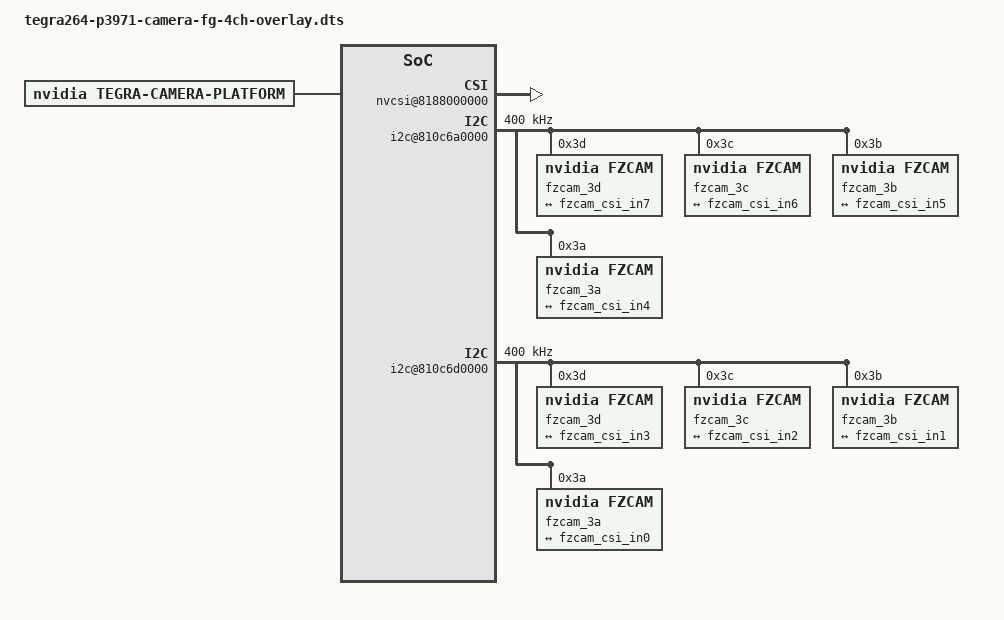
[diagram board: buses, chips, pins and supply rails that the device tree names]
/* SPDX-License-Identifier: GPL-2.0 */
/* SPDX-FileCopyrightText: Copyright (c) 2025, NVIDIA CORPORATION & AFFILIATES. All rights reserved. */

/dts-v1/;
/plugin/;

#include <dt-bindings/clock/tegra264-clk.h>
#include <dt-bindings/gpio/tegra264-gpio.h>
#include <dt-bindings/pinctrl/pinctrl-tegra.h>

/* camera control gpio definitions */
#define CAM1_PWDN	TEGRA264_MAIN_GPIO(V, 5)  //Pin93 -- MAX9296_1 PWDN/17
#define CAM2_PWDN	TEGRA264_MAIN_GPIO(V, 2)  //Pin95 -- MAX9296_2 PWDN/18

#define CAM_LANES 4
#define CAM_LANES_STRING "4"

#define JETSON_COMPATIBLE "nvidia,p3971-0089+p3834-0008", "nvidia,p3971-0050+p3834-0005", "nvidia,p3971-0080+p3834-0008", "nvidia,p3834-0008", "nvidia,tegra264"

/ {
	overlay-name = "Jetson Camera Thor_FG_4CH";
	jetson-header-name = "Jetson AGX CSI Connector";
	compatible = JETSON_COMPATIBLE;

	fragment@0 {
		target-path = "/";
		__overlay__ {
			status = "okay";
			tegra-capture-vi {
				status = "okay";
				num-channels = <8>;
				ports {
					status = "okay";
					#address-cells = <1>;
					#size-cells = <0>;
					port@0 {
						status = "okay";
						reg = <0>;
						fzcam_vi_in0: endpoint {
							status = "okay";
							vc-id = <0>;
							port-index = <0>;
							bus-width = <4>;
							remote-endpoint = <&fzcam_csi_out0>;
						};
					};
					port@1 {
						status = "okay";
						reg = <1>;
						fzcam_vi_in1: endpoint {
							status = "okay";
							vc-id = <1>;
							port-index = <0>;
							bus-width = <4>;
							remote-endpoint = <&fzcam_csi_out1>;
						};
					};
					port@2 {
						status = "okay";
						reg = <2>;
						fzcam_vi_in2: endpoint {
							status = "okay";
							vc-id = <2>;
							port-index = <0>;
							bus-width = <4>;
							remote-endpoint = <&fzcam_csi_out2>;
						};
					};
					port@3 {
						status = "okay";
						reg = <3>;
						fzcam_vi_in3: endpoint {
							status = "okay";
							vc-id = <3>;
							port-index = <0>;
							bus-width = <4>;
							remote-endpoint = <&fzcam_csi_out3>;
						};
					};
					port@4 {
						status = "okay";
						reg = <4>;
						fzcam_vi_in4: endpoint {
							status = "okay";
							vc-id = <0>;
							port-index = <2>;
							bus-width = <4>;
							remote-endpoint = <&fzcam_csi_out4>;
						};
					};
					port@5 {
						status = "okay";
						reg = <5>;
						fzcam_vi_in5: endpoint {
							status = "okay";
							vc-id = <1>;
							port-index = <2>;
							bus-width = <4>;
							remote-endpoint = <&fzcam_csi_out5>;
						};
					};
					port@6 {
						status = "okay";
						reg = <6>;
						fzcam_vi_in6: endpoint {
							status = "okay";
							vc-id = <2>;
							port-index = <2>;
							bus-width = <4>;
							remote-endpoint = <&fzcam_csi_out6>;
						};
					};
					port@7 {
						status = "okay";
						reg = <7>;
						fzcam_vi_in7: endpoint {
							status = "okay";
							vc-id = <3>;
							port-index = <2>;
							bus-width = <4>;
							remote-endpoint = <&fzcam_csi_out7>;
						};
					};
				};
			};

			tegra-camera-platform {
				status = "okay";
				compatible = "nvidia, tegra-camera-platform";
				modules {
					status = "okay";
					module0 {
						status = "okay";
						badge = "fzcam_frontl";
						position = "frontl";
						orientation = "1";
						drivernode0 {
							status = "okay";
							pcl_id = "v4l2_sensor";
							sysfs-device-tree = "/sys/firmware/devicetree/base/bus@0/i2c@810c6a0000/fzcam_3a@3a";
						};
					};
					module1 {
						status = "okay";
						badge = "fzcam_frontr";
						position = "frontr";
						orientation = "1";
						drivernode0 {
							status = "okay";
							pcl_id = "v4l2_sensor";
							sysfs-device-tree = "/sys/firmware/devicetree/base/bus@0/i2c@810c6a0000/fzcam_3b@3b";
						};
					};
					module2 {
						status = "okay";
						badge = "fzcam_frontu";
						position = "frontu";
						orientation = "1";
						drivernode0 {
							status = "okay";
							pcl_id = "v4l2_sensor";
							sysfs-device-tree = "/sys/firmware/devicetree/base/bus@0/i2c@810c6a0000/fzcam_3c@3c";
						};
					};
					module3 {
						status = "okay";
						badge = "fzcam_frontd";
						position = "frontd";
						orientation = "1";
						drivernode0 {
							status = "okay";
							pcl_id = "v4l2_sensor";
							sysfs-device-tree = "/sys/firmware/devicetree/base/bus@0/i2c@810c6a0000/fzcam_3d@3d";
						};
					};
					module4 {
						status = "okay";
						badge = "fzcam_rearl";
						position = "rearl";
						orientation = "1";
						drivernode0 {
							status = "okay";
							pcl_id = "v4l2_sensor";
							sysfs-device-tree = "/sys/firmware/devicetree/base/bus@0/i2c@810c6d0000/fzcam_3a@3a";
						};
					};
					module5 {
						status = "okay";
						badge = "fzcam_rearr";
						position = "rearr";
						orientation = "1";
						drivernode0 {
							status = "okay";
							pcl_id = "v4l2_sensor";
							sysfs-device-tree = "/sys/firmware/devicetree/base/bus@0/i2c@810c6d0000/fzcam_3b@3b";
						};
					};
					module6 {
						status = "okay";
						badge = "fzcam_rearu";
						position = "rearu";
						orientation = "1";
						drivernode0 {
							status = "okay";
							pcl_id = "v4l2_sensor";
							sysfs-device-tree = "/sys/firmware/devicetree/base/bus@0/i2c@810c6d0000/fzcam_3c@3c";
						};
					};
					module7 {
						status = "okay";
						badge = "fzcam_reard";
						position = "reard";
						orientation = "1";
						drivernode0 {
							status = "okay";
							pcl_id = "v4l2_sensor";
							sysfs-device-tree = "/sys/firmware/devicetree/base/bus@0/i2c@810c6d0000/fzcam_3d@3d";
						};
					};
				};
			};

			bus@0 {
				status = "okay";
				/*
				gpio@810c300000 {
					camera-control-output-low {
						gpio-hog;
						output-low;
						gpios = <CAM1_PWDN 0 CAM2_PWDN 0>;
						label = "cam1-pwdn", "cam2-pwdn";
					};
				};
				*/

				host1x@8181200000 {
					status = "okay";
					nvcsi@8188000000 {
						status = "okay";
						num-channels = <8>;
						#address-cells = <1>;
						#size-cells = <0>;
						channel@0 {
							status = "okay";
							reg = <0>;
							ports {
								status = "okay";
								#address-cells = <1>;
								#size-cells = <0>;
								port@0 {
									status = "okay";
									reg = <0>;
									fzcam_csi_in0: endpoint@0 {
										status = "okay";
										port-index = <0>;
										bus-width = <4>;
										remote-endpoint = <&fzcam_out0>;
									};
								};
								port@1 {
									status = "okay";
									reg = <1>;
									fzcam_csi_out0: endpoint@1 {
										status = "okay";
										remote-endpoint = <&fzcam_vi_in0>;
									};
								};
							};
						};
						channel@1 {
							status = "okay";
							reg = <1>;
							ports {
								status = "okay";
								#address-cells = <1>;
								#size-cells = <0>;
								port@0 {
									status = "okay";
									reg = <0>;
									fzcam_csi_in1: endpoint@2 {
										status = "okay";
										port-index = <0>;
										bus-width = <4>;
										remote-endpoint = <&fzcam_out1>;
									};
								};
								port@1 {
									status = "okay";
									reg = <1>;
									fzcam_csi_out1: endpoint@3 {
										status = "okay";
										remote-endpoint = <&fzcam_vi_in1>;
									};
								};
							};
						};
						channel@2 {
							status = "okay";
							reg = <2>;
							ports {
								status = "okay";
								#address-cells = <1>;
								#size-cells = <0>;
								port@0 {
									status = "okay";
									reg = <0>;
									fzcam_csi_in2: endpoint@4 {
										status = "okay";
										port-index = <0>;
										bus-width = <4>;
										remote-endpoint = <&fzcam_out2>;
									};
								};
								port@1 {
									status = "okay";
									reg = <1>;
									fzcam_csi_out2: endpoint@5 {
										status = "okay";
										remote-endpoint = <&fzcam_vi_in2>;
									};
								};
							};
						};
						channel@3 {
							status = "okay";
							reg = <3>;
							ports {
								status = "okay";
								#address-cells = <1>;
								#size-cells = <0>;
								port@0 {
									status = "okay";
									reg = <0>;
									fzcam_csi_in3: endpoint@6 {
										status = "okay";
										port-index = <0>;
										bus-width = <4>;
										remote-endpoint = <&fzcam_out3>;
									};
								};
								port@1 {
									status = "okay";
									reg = <1>;
									fzcam_csi_out3: endpoint@7 {
										status = "okay";
										remote-endpoint = <&fzcam_vi_in3>;
									};
								};
							};
						};
						channel@4 {
							status = "okay";
							reg = <4>;
							ports {
								status = "okay";
								#address-cells = <1>;
								#size-cells = <0>;
								port@0 {
									status = "okay";
									reg = <0>;
									fzcam_csi_in4: endpoint@8 {
										status = "okay";
										port-index = <2>;
										bus-width = <4>;
										remote-endpoint = <&fzcam_out4>;
									};
								};
								port@1 {
									status = "okay";
									reg = <1>;
									fzcam_csi_out4: endpoint@9 {
										status = "okay";
										remote-endpoint = <&fzcam_vi_in4>;
									};
								};
							};
						};
						channel@5 {
							status = "okay";
							reg = <5>;
							ports {
								status = "okay";
								#address-cells = <1>;
								#size-cells = <0>;
								port@0 {
									status = "okay";
									reg = <0>;
									fzcam_csi_in5: endpoint@10 {
										status = "okay";
										port-index = <2>;
										bus-width = <4>;
										remote-endpoint = <&fzcam_out5>;
									};
								};
								port@1 {
									status = "okay";
									reg = <1>;
									fzcam_csi_out5: endpoint@11 {
										status = "okay";
										remote-endpoint = <&fzcam_vi_in5>;
									};
								};
							};
						};
						channel@6 {
							status = "okay";
							reg = <6>;
							ports {
								status = "okay";
								#address-cells = <1>;
								#size-cells = <0>;
								port@0 {
									status = "okay";
									reg = <0>;
									fzcam_csi_in6: endpoint@12 {
										status = "okay";
										port-index = <2>;
										bus-width = <4>;
										remote-endpoint = <&fzcam_out6>;
									};
								};
								port@1 {
									status = "okay";
									reg = <1>;
									fzcam_csi_out6: endpoint@13 {
										status = "okay";
										remote-endpoint = <&fzcam_vi_in6>;
									};
								};
							};
						};
						channel@7 {
							status = "okay";
							reg = <7>;
							ports {
								status = "okay";
								#address-cells = <1>;
								#size-cells = <0>;
								port@0 {
									status = "okay";
									reg = <0>;
									fzcam_csi_in7: endpoint@14 {
										status = "okay";
										port-index = <2>;
										bus-width = <4>;
										remote-endpoint = <&fzcam_out7>;
									};
								};
								port@1 {
									status = "okay";
									reg = <1>;
									fzcam_csi_out7: endpoint@15 {
										status = "okay";
										remote-endpoint = <&fzcam_vi_in7>;
									};
								};
							};
						};
					};
				};

				i2c@810c6a0000 { //Bus-9
					status = "okay";
					clock-frequency = <400000>;
					fzcam_3d@3d {
						status = "okay";
						compatible = "nvidia,fzcam";
						reg = <0x3d>;
						devnode = "video3";
						sensor_model ="fzcam";

						clocks = <&bpmp TEGRA264_CLK_EXTPERIPH1>,
								<&bpmp TEGRA264_CLK_EXTPERIPH1>;
						clock-names = "extperiph1", "pllp_grtba";
						mclk = "extperiph1";

						mode0 {
							mclk_khz = "37125";
							num_lanes = "4";
							tegra_sinterface = "serial_c";
							vc_id = "3";

							discontinuous_clk = "no";
							dpcm_enable = "false";
							cil_settletime = "0";

							csi_pixel_bit_depth = "16";
							mode_type = "yuv";
							pixel_phase = "uyvy";

							active_w = "3840";
							active_h = "2160";
							readout_orientation = "0";
							line_length = "4400";
							inherent_gain = "1";

							pix_clk_hz = "74250000";
							serdes_pix_clk_hz = "375000000";

							gain_factor = "10";
							min_gain_val = "0";
							max_gain_val = "480";
							step_gain_val = "3";
							default_gain = "0";

							framerate_factor = "1000000";
							min_framerate = "30000000";
							max_framerate = "30000000";
							step_framerate = "1";
							default_framerate= "30000000";

							exposure_factor = "1000000";
							min_exp_time = "30";
							max_exp_time = "660000";
							step_exp_time = "1";
							default_exp_time = "33334";

							embedded_metadata_height = "0";
						};
						ports {
							port@0 {
								fzcam_out7: endpoint {
									status = "okay";
									vc-id = <3>;
									port-index = <2>;
									bus-width = <4>;
									remote-endpoint = <&fzcam_csi_in7>;
								};
							};
						};
					};
					fzcam_3c@3c {
						status = "okay";
						compatible = "nvidia,fzcam";
						reg = <0x3c>;
						devnode = "video2";
						sensor_model ="fzcam";

						clocks = <&bpmp TEGRA264_CLK_EXTPERIPH1>,
								<&bpmp TEGRA264_CLK_EXTPERIPH1>;
						clock-names = "extperiph1", "pllp_grtba";
						mclk = "extperiph1";

						mode0 {
							mclk_khz = "37125";
							num_lanes = "4";
							tegra_sinterface = "serial_c";
							vc_id = "2";

							discontinuous_clk = "no";
							dpcm_enable = "false";
							cil_settletime = "0";

							csi_pixel_bit_depth = "16";
							mode_type = "yuv";
							pixel_phase = "uyvy";

							active_w = "3840";
							active_h = "2160";
							readout_orientation = "0";
							line_length = "4400";
							inherent_gain = "1";

							pix_clk_hz = "74250000";
							serdes_pix_clk_hz = "375000000";

							gain_factor = "10";
							min_gain_val = "0";
							max_gain_val = "480";
							step_gain_val = "3";
							default_gain = "0";

							framerate_factor = "1000000";
							min_framerate = "30000000";
							max_framerate = "30000000";
							step_framerate = "1";
							default_framerate= "30000000";

							exposure_factor = "1000000";
							min_exp_time = "30";
							max_exp_time = "660000";
							step_exp_time = "1";
							default_exp_time = "33334";

							embedded_metadata_height = "0";
						};
						ports {
							port@0 {
								fzcam_out6: endpoint {
									status = "okay";
									vc-id = <2>;
									port-index = <2>;
									bus-width = <4>;
									remote-endpoint = <&fzcam_csi_in6>;
								};
							};
						};
					};
					fzcam_3b@3b {
						status = "okay";
						compatible = "nvidia,fzcam";
						reg = <0x3b>;
						devnode = "video1";
						sensor_model ="fzcam";

						/* Define any required hw resources needed by driver */
						/* ie. clocks, io pins, power sources */
						clocks = <&bpmp TEGRA264_CLK_EXTPERIPH1>,
								<&bpmp TEGRA264_CLK_EXTPERIPH1>;
						clock-names = "extperiph1", "pllp_grtba";
						mclk = "extperiph1";

						mode0 {
							mclk_khz = "37125";
							num_lanes = "4";
							tegra_sinterface = "serial_c";
							vc_id = "1";

							discontinuous_clk = "no";
							dpcm_enable = "false";
							cil_settletime = "0";

							csi_pixel_bit_depth = "16";
							mode_type = "yuv";
							pixel_phase = "uyvy";

							active_w = "3840";
							active_h = "2160";
							readout_orientation = "0";
							line_length = "4400";
							inherent_gain = "1";

							pix_clk_hz = "74250000";
							serdes_pix_clk_hz = "375000000";

							gain_factor = "10";
							min_gain_val = "0"; /* 0dB */
							max_gain_val = "480"; /* 48dB */
							step_gain_val = "3"; /* 0.3 */
							default_gain = "0";

							framerate_factor = "1000000";
							min_framerate = "30000000"; /* 1.5 */
							max_framerate = "30000000"; /* 30 */
							step_framerate = "1";
							default_framerate= "30000000";

							exposure_factor = "1000000";
							min_exp_time = "30"; /* us */
							max_exp_time = "660000"; /* us */
							step_exp_time = "1";
							default_exp_time = "33334";/* us */

							embedded_metadata_height = "0";
						};
						ports {
							port@0 {
								fzcam_out5: endpoint {
									status = "okay";
									vc-id = <1>;
									port-index = <2>;
									bus-width = <4>;
									remote-endpoint = <&fzcam_csi_in5>;
								};
							};
						};
					};
					fzcam_3a@3a {
						status = "okay";
						compatible = "nvidia,fzcam";
						reg = <0x3a>;
						devnode = "video0";
						sensor_model ="fzcam";
						//reset-gpios = <&gpio_main CAM1_PWDN GPIO_ACTIVE_HIGH>;
						//poc-gpios = <&gpio_main CAM12V1_POC GPIO_ACTIVE_HIGH>;

						/* Define any required hw resources needed by driver */
						/* ie. clocks, io pins, power sources */
						clocks = <&bpmp TEGRA264_CLK_EXTPERIPH1>,
								<&bpmp TEGRA264_CLK_EXTPERIPH1>;
						clock-names = "extperiph1", "pllp_grtba";
						mclk = "extperiph1";

						mode0 {
							mclk_khz = "37125";
							num_lanes = "4";
							tegra_sinterface = "serial_c";
							vc_id = "0";

							discontinuous_clk = "no";
							dpcm_enable = "false";
							cil_settletime = "0";

							csi_pixel_bit_depth = "16";
							mode_type = "yuv";
							pixel_phase = "uyvy";

							active_w = "3840";
							active_h = "2160";
							readout_orientation = "0";
							line_length = "4400";
							inherent_gain = "1";

							pix_clk_hz = "74250000";
							serdes_pix_clk_hz = "375000000";

							gain_factor = "10";
							min_gain_val = "0"; /* 0dB */
							max_gain_val = "480"; /* 48dB */
							step_gain_val = "3"; /* 0.3 */
							default_gain = "0";

							framerate_factor = "1000000";
							min_framerate = "30000000"; /* 1.5 */
							max_framerate = "30000000"; /* 30 */
							step_framerate = "1";
							default_framerate= "30000000";

							exposure_factor = "1000000";
							min_exp_time = "30"; /* us */
							max_exp_time = "660000"; /* us */
							step_exp_time = "1";
							default_exp_time = "33334";/* us */

							embedded_metadata_height = "0";
						};
						ports {
							port@0 {
								fzcam_out4: endpoint {
									status = "okay";
									vc-id = <0>;
									port-index = <2>;
									bus-width = <4>;
									remote-endpoint = <&fzcam_csi_in4>;
									};
								};
							};
					};
				};
				i2c@810c6d0000 { //Bus-12
					status = "okay";
					clock-frequency = <400000>;
					fzcam_3d@3d {
						status = "okay";
						compatible = "nvidia,fzcam";
						reg = <0x3d>;
						devnode = "video7";
						sensor_model ="fzcam";

						clocks = <&bpmp TEGRA264_CLK_EXTPERIPH1>,
								<&bpmp TEGRA264_CLK_EXTPERIPH1>;
						clock-names = "extperiph1", "pllp_grtba";
						mclk = "extperiph1";

						mode0 {
							mclk_khz = "37125";
							num_lanes = "4";
							tegra_sinterface = "serial_a";
							vc_id = "3";

							discontinuous_clk = "no";
							dpcm_enable = "false";
							cil_settletime = "0";

							csi_pixel_bit_depth = "16";
							mode_type = "yuv";
							pixel_phase = "uyvy";

							active_w = "3840";
							active_h = "2160";
							readout_orientation = "0";
							line_length = "4400";
							inherent_gain = "1";

							pix_clk_hz = "74250000";
							serdes_pix_clk_hz = "375000000";

							gain_factor = "10";
							min_gain_val = "0";
							max_gain_val = "480";
							step_gain_val = "3";
							default_gain = "0";

							framerate_factor = "1000000";
							min_framerate = "30000000";
							max_framerate = "30000000";
							step_framerate = "1";
							default_framerate= "30000000";

							exposure_factor = "1000000";
							min_exp_time = "30";
							max_exp_time = "660000";
							step_exp_time = "1";
							default_exp_time = "33334";

							embedded_metadata_height = "0";
						};
						ports {
							port@0 {
								fzcam_out3: endpoint {
									status = "okay";
									vc-id = <3>;
									port-index = <0>;
									bus-width = <4>;
									remote-endpoint = <&fzcam_csi_in3>;
								};
							};
						};
					};
					fzcam_3c@3c {
						status = "okay";
						compatible = "nvidia,fzcam";
						reg = <0x3c>;
						devnode = "video6";
						sensor_model ="fzcam";

						clocks = <&bpmp TEGRA264_CLK_EXTPERIPH1>,
								<&bpmp TEGRA264_CLK_EXTPERIPH1>;
						clock-names = "extperiph1", "pllp_grtba";
						mclk = "extperiph1";

						mode0 {
							mclk_khz = "37125";
							num_lanes = "4";
							tegra_sinterface = "serial_a";
							vc_id = "2";

							discontinuous_clk = "no";
							dpcm_enable = "false";
							cil_settletime = "0";

							csi_pixel_bit_depth = "16";
							mode_type = "yuv";
							pixel_phase = "uyvy";

							active_w = "3840";
							active_h = "2160";
							readout_orientation = "0";
							line_length = "4400";
							inherent_gain = "1";

							pix_clk_hz = "74250000";
							serdes_pix_clk_hz = "375000000";

							gain_factor = "10";
							min_gain_val = "0";
							max_gain_val = "480";
							step_gain_val = "3";
							default_gain = "0";

							framerate_factor = "1000000";
							min_framerate = "30000000";
							max_framerate = "30000000";
							step_framerate = "1";
							default_framerate= "30000000";

							exposure_factor = "1000000";
							min_exp_time = "30";
							max_exp_time = "660000";
							step_exp_time = "1";
							default_exp_time = "33334";

							embedded_metadata_height = "0";
						};
						ports {
							port@0 {
								fzcam_out2: endpoint {
									status = "okay";
									vc-id = <2>;
									port-index = <0>;
									bus-width = <4>;
									remote-endpoint = <&fzcam_csi_in2>;
								};
							};
						};
					};
					fzcam_3b@3b {
						status = "okay";
						compatible = "nvidia,fzcam";
						reg = <0x3b>;
						devnode = "video5";
						sensor_model ="fzcam";

						/* Define any required hw resources needed by driver */
						/* ie. clocks, io pins, power sources */
						clocks = <&bpmp TEGRA264_CLK_EXTPERIPH1>,
								<&bpmp TEGRA264_CLK_EXTPERIPH1>;
						clock-names = "extperiph1", "pllp_grtba";
						mclk = "extperiph1";

						mode0 {
							mclk_khz = "37125";
							num_lanes = "4";
							tegra_sinterface = "serial_a";
							vc_id = "1";

							discontinuous_clk = "no";
							dpcm_enable = "false";
							cil_settletime = "0";

							csi_pixel_bit_depth = "16";
							mode_type = "yuv";
							pixel_phase = "uyvy";

							active_w = "3840";
							active_h = "2160";
							readout_orientation = "0";
							line_length = "4400";
							inherent_gain = "1";

							pix_clk_hz = "74250000";
							serdes_pix_clk_hz = "375000000";

							gain_factor = "10";
							min_gain_val = "0"; /* 0dB */
							max_gain_val = "480"; /* 48dB */
							step_gain_val = "3"; /* 0.3 */
							default_gain = "0";

							framerate_factor = "1000000";
							min_framerate = "30000000"; /* 1.5 */
							max_framerate = "30000000"; /* 30 */
							step_framerate = "1";
							default_framerate= "30000000";

							exposure_factor = "1000000";
							min_exp_time = "30"; /* us */
							max_exp_time = "660000"; /* us */
							step_exp_time = "1";
							default_exp_time = "33334";/* us */

							embedded_metadata_height = "0";
						};
						ports {
							port@0 {
								fzcam_out1: endpoint {
									status = "okay";
									vc-id = <1>;
									port-index = <0>;
									bus-width = <4>;
									remote-endpoint = <&fzcam_csi_in1>;
								};
							};
						};
					};
					fzcam_3a@3a {
						status = "okay";
						compatible = "nvidia,fzcam";
						reg = <0x3a>;
						devnode = "video4";
						sensor_model ="fzcam";
						//reset-gpios = <&gpio_main CAM1_PWDN GPIO_ACTIVE_HIGH>;
						//poc-gpios = <&gpio_main CAM12V1_POC GPIO_ACTIVE_HIGH>;

						/* Define any required hw resources needed by driver */
						/* ie. clocks, io pins, power sources */
						clocks = <&bpmp TEGRA264_CLK_EXTPERIPH1>,
								<&bpmp TEGRA264_CLK_EXTPERIPH1>;
						clock-names = "extperiph1", "pllp_grtba";
						mclk = "extperiph1";

						mode0 {
							mclk_khz = "37125";
							num_lanes = "4";
							tegra_sinterface = "serial_a";
							vc_id = "0";

							discontinuous_clk = "no";
							dpcm_enable = "false";
							cil_settletime = "0";

							csi_pixel_bit_depth = "16";
							mode_type = "yuv";
							pixel_phase = "uyvy";

							active_w = "3840";
							active_h = "2160";
							readout_orientation = "0";
							line_length = "4400";
							inherent_gain = "1";

							pix_clk_hz = "74250000";
							serdes_pix_clk_hz = "375000000";

							gain_factor = "10";
							min_gain_val = "0"; /* 0dB */
							max_gain_val = "480"; /* 48dB */
							step_gain_val = "3"; /* 0.3 */
							default_gain = "0";

							framerate_factor = "1000000";
							min_framerate = "30000000"; /* 1.5 */
							max_framerate = "30000000"; /* 30 */
							step_framerate = "1";
							default_framerate= "30000000";

							exposure_factor = "1000000";
							min_exp_time = "30"; /* us */
							max_exp_time = "660000"; /* us */
							step_exp_time = "1";
							default_exp_time = "33334";/* us */

							embedded_metadata_height = "0";
						};
						ports {
							port@0 {
								fzcam_out0: endpoint {
									status = "okay";
									vc-id = <0>;
									port-index = <0>;
									bus-width = <4>;
									remote-endpoint = <&fzcam_csi_in0>;
								};
							};
						};
					};
				};
			};
		};
	};

	/*
	fragment@1 {
		target = <&padctl_main>;
		__overlay__ {
			pinctrl-names = "default";
			pinctrl-0 = <&jetson_io_pinmux>;

			jetson_io_pinmux: exp-header-pinmux {
				// enable i2c9 pinmux
				gen9_i2c_scl_pg3 {
					nvidia,pins = "gen9_i2c_scl_pg3";
					nvidia,function = "i2c9_clk";
					nvidia,pull = <TEGRA_PIN_PULL_NONE>;
					nvidia,tristate = <TEGRA_PIN_DISABLE>;
					nvidia,enable-input = <TEGRA_PIN_ENABLE>;
				};
				gen9_i2c_sda_pg4 {
					nvidia,pins = "gen9_i2c_sda_pg4";
					nvidia,function = "i2c9_dat";
					nvidia,pull = <TEGRA_PIN_PULL_NONE>;
					nvidia,tristate = <TEGRA_PIN_DISABLE>;
					nvidia,enable-input = <TEGRA_PIN_ENABLE>;
				};
			};
		};
	};
	*/
};
